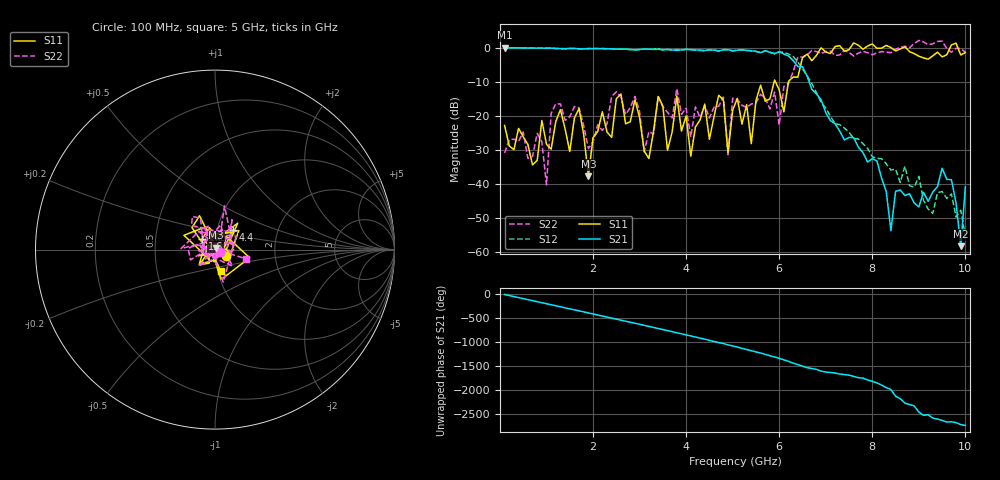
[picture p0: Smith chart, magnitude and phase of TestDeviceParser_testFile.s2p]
# MHz MA S R 50.0
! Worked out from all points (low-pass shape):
!   100 points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, 100 MHz to 10 GHz, reference 50 ohm
!   highest |S21| = -0.03 dB at 100 MHz (marker M1); lowest = -58.3 dB at 9.9 GHz (marker M2)
!   |S21| within 3 dB of the highest: start of sweep to 6.241 GHz
!   lowest |S11| = -37.8 dB at 1.9 GHz (marker M3), VSWR 1.03, Z = 50.6 + j1.15 ohm
!   |S11| at or under -10 dB: start of sweep to 5.892 GHz; 5.916 GHz to 6.199 GHz (282.4 MHz wide, 4.66 % of centre)
!   |S22| runs from -40.3 to 2.1 dB; largest |S21 - S12| = 0.13
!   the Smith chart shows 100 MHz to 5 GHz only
!   S11 on the Smith chart (normalised r, x): 100 MHz: 1.13, -0.08; 1.6 GHz: 0.86, +0.10; 4.4 GHz: 1.19, +0.26; 5 GHz: 1.03, -0.24
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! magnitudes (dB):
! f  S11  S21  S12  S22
! 100 MHz  -22.9  0.0  0.0  -30.9
! 1 GHz  -28.4  -0.2  -0.2  -40.3
! 1.1 GHz  -29.9  -0.2  -0.2  -19.3
! 1.6 GHz  -20.6  -0.3  -0.3  -17.3
! 1.8 GHz  -25.6  -0.4  -0.3  -23.0
! 1.9 GHz  -37.8  -0.3  -0.3  -29.6
! 2.6 GHz  -13.7  -0.5  -0.4  -14.5
! 3.2 GHz  -32.6  -0.5  -0.5  -24.7
! 3.4 GHz  -14.4  -0.5  -0.3  -14.5
! 4.1 GHz  -31.9  -0.7  -0.5  -26.3
! 4.4 GHz  -16.6  -0.9  -1.0  -17.0
! 4.8 GHz  -15.4  -0.6  -0.6  -14.6
! 4.9 GHz  -31.0  -0.7  -0.6  -31.5
! 5 GHz  -18.4  -1.0  -0.9  -14.9
! 5.1 GHz  -14.9  -0.8  -0.8  -15.2
! 5.4 GHz  -28.2  -1.0  -0.9  -16.6
! 6 GHz  -12.4  -1.3  -1.2  -22.8
! 6.7 GHz  -3.9  -12.2  -10.5  -0.9
! 8.4 GHz  0.0  -53.8  -36.0  -1.5
! 9.5 GHz  -2.7  -35.4  -42.3  1.9
! 9.9 GHz  -2.2  -58.3  -47.8  -0.3
! 10 GHz  -1.5  -40.9  -55.4  -1.3
